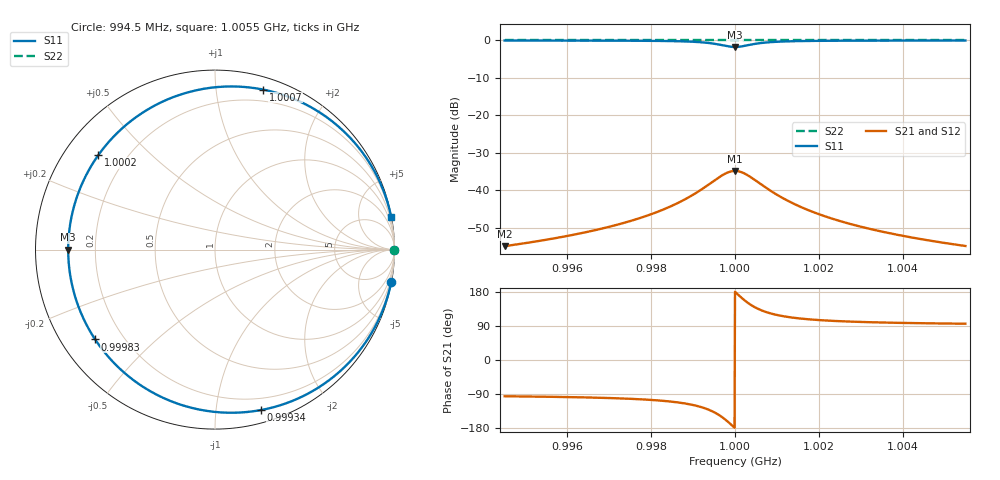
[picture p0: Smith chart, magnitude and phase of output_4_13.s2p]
! File generated for n1 = 4, n2 = 13
! b1 = 10.000000
! b2 = 0.001000
! Q0 = 10000.000000
! f0 = 1000000000.000000
! n = 1001
! rel_span = 10.000000
# Hz S RI R 50
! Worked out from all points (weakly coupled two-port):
!   1001 points, 994.5 MHz to 1.0055 GHz, reference 50 ohm
!   highest |S21| = -34.81 dB at 1 GHz (marker M1); lowest = -54.9 dB at 994.5 MHz (marker M2)
!   lowest |S11| = -1.7 dB at 1 GHz (marker M3), VSWR 9.99, Z = 5 + j0 ohm
!   |S11| at or under -10 dB: nowhere
!   |S22| runs from 0.0 to 0.0 dB; largest |S21 - S12| = 0
!   S11 on the Smith chart (normalised r, x): 994.5 MHz: 0, -11; 999.34 MHz: 0.10, -1.32; 999.83 MHz: 0.10, -0.33; 1.0002 GHz: 0.10, +0.35; 1.0007 GHz: 0.10, +1.34; 1.0055 GHz: 0, +11
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9.944995e8  0.9821 -0.1795  -0.000179 -0.0018  -0.000179 -0.0018  1 -1.8e-05
9.963367e8  0.9601 -0.2665  -0.000399 -0.00266  -0.000399 -0.00266  1 -2.66e-05
9.973818e8  0.9233 -0.3654  -0.000767 -0.00365  -0.000767 -0.00365  1 -3.65e-05
9.981738e8  0.849 -0.5017  -0.00151 -0.00502  -0.00151 -0.00502  1 -5.02e-05
9.988779e8  0.6481 -0.7183  -0.00352 -0.00718  -0.00352 -0.00718  1 -7.18e-05
9.991309e8  0.4804 -0.8214  -0.0052 -0.00821  -0.0052 -0.00821  0.9999 -8.21e-05
9.993399e8  0.2552 -0.8941  -0.00745 -0.00894  -0.00745 -0.00894  0.9999 -8.94e-05
9.99615e8  -0.22 -0.8542  -0.0122 -0.00854  -0.0122 -0.00854  0.9999 -8.54e-05
9.99725e8  -0.4543 -0.7273  -0.0145 -0.00727  -0.0145 -0.00727  0.9999 -7.27e-05
9.99835e8  -0.6679 -0.5004  -0.0167 -0.005  -0.0167 -0.005  0.9998 -5e-05
1e9  -0.818 0  -0.0182 0  -0.0182 0  0.9998 0
1.000088e9  -0.7726 0.2836  -0.0177 0.00284  -0.0177 0.00284  0.9998 2.84e-05
1.000176e9  -0.6492 0.5277  -0.0165 0.00528  -0.0165 0.00528  0.9998 5.28e-05
1.000275e9  -0.4545 0.7271  -0.0145 0.00727  -0.0145 0.00727  0.9999 7.27e-05
1.000385e9  -0.2203 0.854  -0.0122 0.00854  -0.0122 0.00854  0.9999 8.54e-05
1.000506e9  0.0151 0.9058  -0.00985 0.00906  -0.00985 0.00906  0.9999 9.06e-05
1.000671e9  0.2691 0.8914  -0.00731 0.00891  -0.00731 0.00891  0.9999 8.91e-05
1.00088e9  0.489 0.8172  -0.00511 0.00817  -0.00511 0.00817  0.9999 8.17e-05
1.001133e9  0.653 0.7145  -0.00347 0.00714  -0.00347 0.00714  1 7.14e-05
1.001837e9  0.8502 0.4999  -0.0015 0.005  -0.0015 0.005  1 5e-05
1.003674e9  0.96 0.2667  -0.0004 0.00267  -0.0004 0.00267  1 2.67e-05
1.0055e9  0.9819 0.1805  -0.000181 0.0018  -0.000181 0.0018  1 1.8e-05
